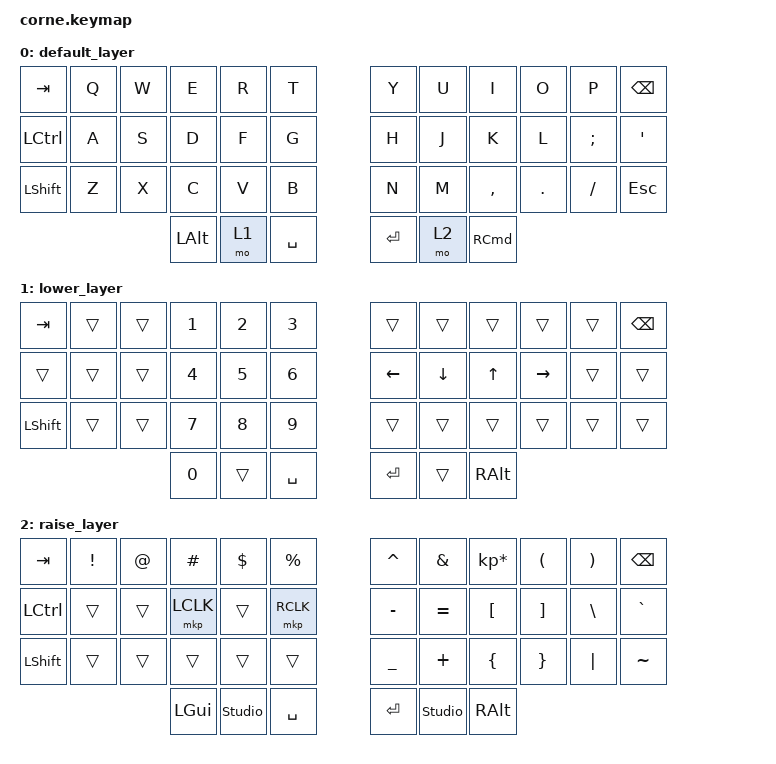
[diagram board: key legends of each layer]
/*
 * Copyright (c) 2020 The ZMK Contributors
 *
 * SPDX-License-Identifier: MIT
 */

#include <behaviors.dtsi>
#include <dt-bindings/zmk/bt.h>
#include <dt-bindings/zmk/keys.h>
#include <dt-bindings/zmk/mouse.h>

/ {
    keymap {
        compatible = "zmk,keymap";

        default_layer {
            // -----------------------------------------------------------------------------------------
            // |  TAB |  Q  |  W  |  E  |  R  |  T  |   |  Y  |  U   |  I  |  O  |  P  | BKSP |
            // | CTRL |  A  |  S  |  D  |  F  |  G  |   |  H  |  J   |  K  |  L  |  ;  |  '   |
            // | SHFT |  Z  |  X  |  C  |  V  |  B  |   |  N  |  M   |  ,  |  .  |  /  | ESC  |
            //                    | LALT| LWR | SPC |   | ENT | RSE  | RCMD|

            bindings = <
&kp TAB    &kp Q  &kp W  &kp E     &kp R  &kp T        &kp Y    &kp U  &kp I      &kp O    &kp P     &kp BSPC
&kp LCTRL  &kp A  &kp S  &kp D     &kp F  &kp G        &kp H    &kp J  &kp K      &kp L    &kp SEMI  &kp SQT
&kp LSHFT  &kp Z  &kp X  &kp C     &kp V  &kp B        &kp N    &kp M  &kp COMMA  &kp DOT  &kp FSLH  &kp ESC
                         &kp LALT  &mo 1  &kp SPACE    &kp RET  &mo 2  &kp RCMD
            >;
        };

        lower_layer {
            // -----------------------------------------------------------------------------------------
            // |  TAB |     |     |  1  |  2  |  3  |   |     |     |     |     |     | BKSP |
            // |      |     |     |  4  |  5  |  6  |   | LFT | DWN |  UP | RGT |     |      |
            // | SHFT |     |     |  7  |  8  |  9  |   |     |     |     |     |     |      |
            //                    |  0  |     | SPC |   | ENT |     | ALT |

            bindings = <
&kp TAB    &trans  &trans  &kp N1  &kp N2  &kp N3    &trans    &trans    &trans    &trans     &trans  &kp BSPC
&trans     &trans  &trans  &kp N4  &kp N5  &kp N6    &kp LEFT  &kp DOWN  &kp UP    &kp RIGHT  &trans  &trans
&kp LSHFT  &trans  &trans  &kp N7  &kp N8  &kp N9    &trans    &trans    &trans    &trans     &trans  &trans
                      &kp N0   &trans   &kp SPACE    &kp RET   &trans   &kp RALT
            >;
        };

        raise_layer {
            // -----------------------------------------------------------------------------------------
            // |  TAB |  !  |  @  |  #  |  $  |  %  |   |  ^  |  &  |  *  |  (  |  )  | BKSP |
            // | BTCLR| BT1 | BT2 | BT3 | BT4 | BT5 |   |  -  |  =  |  [  |  ]  |  \  |  `   |
            // | SHFT |     |     |     |     |     |   |  _  |  +  |  {  |  }  | "|" |  ~   |
            //                    | GUI |     | SPC |   | ENT |     | ALT |

            bindings = <
&kp TAB    &kp EXCL  &kp AT  &kp HASH   &kp DLLR  &kp PRCNT    &kp CARET  &kp AMPS   &kp KP_MULTIPLY  &kp LPAR  &kp RPAR  &kp BSPC
&kp LCTRL  &trans    &trans  &mkp LCLK  &trans    &mkp RCLK    &kp MINUS  &kp EQUAL  &kp LBKT         &kp RBKT  &kp BSLH  &kp GRAVE
&kp LSHFT  &trans    &trans  &trans     &trans    &trans       &kp UNDER  &kp PLUS   &kp LBRC         &kp RBRC  &kp PIPE  &kp TILDE
                             &kp LGUI   &studio_unlock    &kp SPACE    &kp RET    &studio_unlock     &kp RALT
            >;
        };
    };
};

